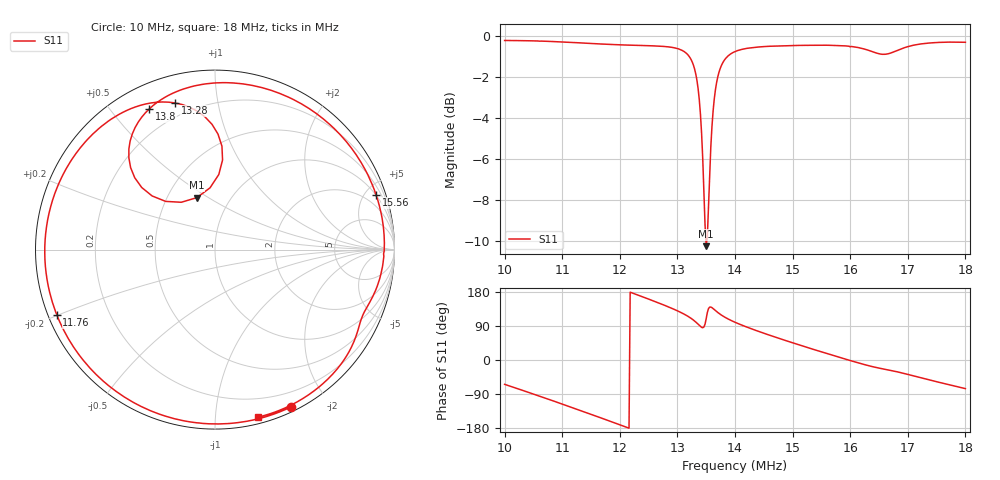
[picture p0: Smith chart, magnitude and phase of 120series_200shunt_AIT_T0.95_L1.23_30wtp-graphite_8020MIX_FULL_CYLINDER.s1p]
! NanoVNA Web complex sweep
! Processing: original sample grid, no browser smoothing
# Hz S RI R 50
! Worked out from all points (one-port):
!   401 points, 10 MHz to 18 MHz, reference 50 ohm
!   lowest |S11| = -10.3 dB at 13.5 MHz (marker M1), VSWR 1.88, Z = 35 + j22.3 ohm
!   |S11| at or under -10 dB: 13.49478 MHz to 13.5113 MHz (16.52 kHz wide, 0.122 % of centre)
!   S11 on the Smith chart (normalised r, x): 10 MHz: 0.05, -1.59; 11.76 MHz: 0.02, -0.20; 13.28 MHz: 0.13, +0.76; 13.8 MHz: 0.10, +0.63; 15.56 MHz: 0.99, +5.91; 18 MHz: 0.05, -1.29
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1e7  0.4233 -0.877
1.05e7  0.00241 -0.9713
1.1e7  -0.4272 -0.866
1.14e7  -0.7111 -0.6435
1.176e7  -0.8816 -0.3629
1.2e7  -0.9386 -0.1492
1.252e7  -0.8859 0.3299
1.278e7  -0.7627 0.5515
1.3e7  -0.5956 0.7148
1.316e7  -0.416 0.8036
1.328e7  -0.2212 0.8169
1.336e7  -0.056 0.7398
1.342e7  0.0387 0.5765
1.346e7  0.0211 0.4181
1.35e7  -0.1009 0.2895
1.356e7  -0.3504 0.299
1.362e7  -0.4702 0.4568
1.368e7  -0.4728 0.605
1.38e7  -0.3665 0.7837
1.4e7  -0.1528 0.9018
1.444e7  0.2614 0.9025
1.5e7  0.6649 0.6736
1.556e7  0.898 0.3039
1.6e7  0.9393 -0.0237
1.634e7  0.8842 -0.2502
1.7e7  0.7406 -0.5798
1.75e7  0.52 -0.81
1.8e7  0.2408 -0.9334
